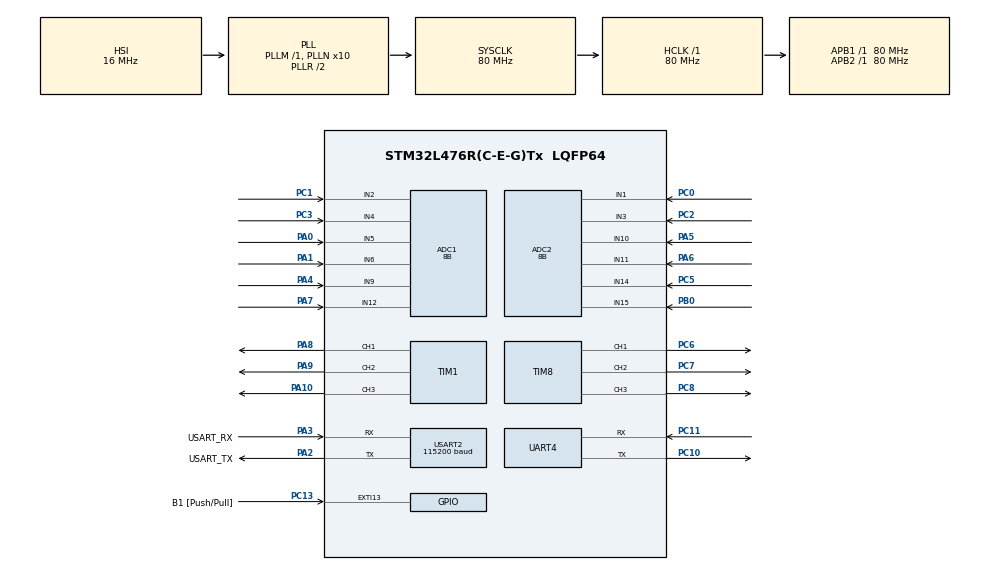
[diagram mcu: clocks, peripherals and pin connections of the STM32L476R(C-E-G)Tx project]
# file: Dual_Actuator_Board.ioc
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ADC1.Channel-10\#ChannelRegularConversion=ADC_CHANNEL_12
ADC1.Channel-3\#ChannelRegularConversion=ADC_CHANNEL_2
ADC1.Channel-6\#ChannelRegularConversion=ADC_CHANNEL_4
ADC1.Channel-7\#ChannelRegularConversion=ADC_CHANNEL_5
ADC1.Channel-8\#ChannelRegularConversion=ADC_CHANNEL_6
ADC1.Channel-9\#ChannelRegularConversion=ADC_CHANNEL_9
ADC1.ClockPrescaler=ADC_CLOCK_ASYNC_DIV8
ADC1.ContinuousConvMode=ENABLE
ADC1.DMAContinuousRequests=ENABLE
ADC1.NbrOfConversion=6
ADC1.NbrOfConversionFlag=1
ADC1.OffsetNumber-10\#ChannelRegularConversion=ADC_OFFSET_NONE
ADC1.OffsetNumber-3\#ChannelRegularConversion=ADC_OFFSET_NONE
ADC1.OffsetNumber-6\#ChannelRegularConversion=ADC_OFFSET_NONE
ADC1.OffsetNumber-7\#ChannelRegularConversion=ADC_OFFSET_NONE
ADC1.OffsetNumber-8\#ChannelRegularConversion=ADC_OFFSET_NONE
ADC1.OffsetNumber-9\#ChannelRegularConversion=ADC_OFFSET_NONE
ADC1.Rank-10\#ChannelRegularConversion=6
ADC1.Rank-3\#ChannelRegularConversion=1
ADC1.Rank-6\#ChannelRegularConversion=2
ADC1.Rank-7\#ChannelRegularConversion=3
ADC1.Rank-8\#ChannelRegularConversion=4
ADC1.Rank-9\#ChannelRegularConversion=5
ADC1.Resolution=ADC_RESOLUTION_8B
ADC1.SamplingTime-10\#ChannelRegularConversion=ADC_SAMPLETIME_640CYCLES_5
ADC1.SamplingTime-3\#ChannelRegularConversion=ADC_SAMPLETIME_640CYCLES_5
ADC1.SamplingTime-6\#ChannelRegularConversion=ADC_SAMPLETIME_640CYCLES_5
ADC1.SamplingTime-7\#ChannelRegularConversion=ADC_SAMPLETIME_640CYCLES_5
ADC1.SamplingTime-8\#ChannelRegularConversion=ADC_SAMPLETIME_640CYCLES_5
ADC1.SamplingTime-9\#ChannelRegularConversion=ADC_SAMPLETIME_640CYCLES_5
ADC1.master=1
ADC2.Channel-3\#ChannelRegularConversion=ADC_CHANNEL_1
ADC2.Channel-4\#ChannelRegularConversion=ADC_CHANNEL_3
ADC2.Channel-5\#ChannelRegularConversion=ADC_CHANNEL_10
ADC2.Channel-6\#ChannelRegularConversion=ADC_CHANNEL_11
ADC2.Channel-7\#ChannelRegularConversion=ADC_CHANNEL_14
ADC2.Channel-8\#ChannelRegularConversion=ADC_CHANNEL_15
ADC2.ClockPrescaler=ADC_CLOCK_ASYNC_DIV8
ADC2.ContinuousConvMode=ENABLE
ADC2.DMAContinuousRequests=ENABLE
ADC2.NbrOfConversion=6
ADC2.NbrOfConversionFlag=1
ADC2.OffsetNumber-3\#ChannelRegularConversion=ADC_OFFSET_NONE
ADC2.OffsetNumber-4\#ChannelRegularConversion=ADC_OFFSET_NONE
ADC2.OffsetNumber-5\#ChannelRegularConversion=ADC_OFFSET_NONE
ADC2.OffsetNumber-6\#ChannelRegularConversion=ADC_OFFSET_NONE
ADC2.OffsetNumber-7\#ChannelRegularConversion=ADC_OFFSET_NONE
ADC2.OffsetNumber-8\#ChannelRegularConversion=ADC_OFFSET_NONE
ADC2.Rank-3\#ChannelRegularConversion=1
ADC2.Rank-4\#ChannelRegularConversion=2
ADC2.Rank-5\#ChannelRegularConversion=3
ADC2.Rank-6\#ChannelRegularConversion=4
ADC2.Rank-7\#ChannelRegularConversion=5
ADC2.Rank-8\#ChannelRegularConversion=6
ADC2.Resolution=ADC_RESOLUTION_8B
ADC2.SamplingTime-3\#ChannelRegularConversion=ADC_SAMPLETIME_640CYCLES_5
ADC2.SamplingTime-4\#ChannelRegularConversion=ADC_SAMPLETIME_640CYCLES_5
ADC2.SamplingTime-5\#ChannelRegularConversion=ADC_SAMPLETIME_640CYCLES_5
ADC2.SamplingTime-6\#ChannelRegularConversion=ADC_SAMPLETIME_640CYCLES_5
ADC2.SamplingTime-7\#ChannelRegularConversion=ADC_SAMPLETIME_640CYCLES_5
ADC2.SamplingTime-8\#ChannelRegularConversion=ADC_SAMPLETIME_640CYCLES_5
Dma.ADC1.1.Direction=DMA_PERIPH_TO_MEMORY
Dma.ADC1.1.Instance=DMA1_Channel1
Dma.ADC1.1.MemDataAlignment=DMA_MDATAALIGN_HALFWORD
Dma.ADC1.1.MemInc=DMA_MINC_ENABLE
Dma.ADC1.1.Mode=DMA_CIRCULAR
Dma.ADC1.1.PeriphDataAlignment=DMA_PDATAALIGN_HALFWORD
Dma.ADC1.1.PeriphInc=DMA_PINC_DISABLE
Dma.ADC1.1.Priority=DMA_PRIORITY_LOW
Dma.ADC2.0.Direction=DMA_PERIPH_TO_MEMORY
Dma.ADC2.0.Instance=DMA1_Channel2
Dma.ADC2.0.MemDataAlignment=DMA_MDATAALIGN_HALFWORD
Dma.ADC2.0.MemInc=DMA_MINC_ENABLE
Dma.ADC2.0.Mode=DMA_CIRCULAR
Dma.ADC2.0.PeriphDataAlignment=DMA_PDATAALIGN_HALFWORD
Dma.ADC2.0.PeriphInc=DMA_PINC_DISABLE
Dma.ADC2.0.Priority=DMA_PRIORITY_LOW
Dma.Request0=ADC2
Dma.Request1=ADC1
Dma.Request2=USART2_TX
Dma.USART2_TX.2.Direction=DMA_MEMORY_TO_PERIPH
Dma.USART2_TX.2.Instance=DMA1_Channel7
Dma.USART2_TX.2.MemDataAlignment=DMA_MDATAALIGN_BYTE
Dma.USART2_TX.2.MemInc=DMA_MINC_ENABLE
Dma.USART2_TX.2.Mode=DMA_CIRCULAR
Dma.USART2_TX.2.PeriphDataAlignment=DMA_PDATAALIGN_BYTE
Dma.USART2_TX.2.PeriphInc=DMA_PINC_DISABLE
Dma.USART2_TX.2.Priority=DMA_PRIORITY_LOW
Mcu.Family=STM32L4
Mcu.Name=STM32L476R(C-E-G)Tx
Mcu.Package=LQFP64
NVIC.DMA1_Channel1_IRQn=true\:1\:0\:true\:false\:true\:false\:true
NVIC.DMA1_Channel2_IRQn=true\:1\:0\:true\:false\:true\:false\:true
NVIC.DMA1_Channel7_IRQn=true\:1\:0\:true\:false\:true\:false\:true
NVIC.PriorityGroup=NVIC_PRIORITYGROUP_4
NVIC.TIM7_IRQn=true\:4\:0\:true\:false\:true\:true\:true
NVIC.UART4_IRQn=true\:0\:0\:false\:false\:true\:true\:true
NVIC.USART2_IRQn=true\:1\:0\:true\:false\:true\:true\:true
PA0.Signal=ADCx_IN5
PA1.Signal=ADCx_IN6
PA10.Signal=S_TIM1_CH3
PA13\ (JTMS-SWDIO).GPIO_Label=TMS
PA13\ (JTMS-SWDIO).Mode=Serial_Wire
PA13\ (JTMS-SWDIO).Signal=SYS_JTMS-SWDIO
PA14\ (JTCK-SWCLK).GPIO_Label=TCK
PA14\ (JTCK-SWCLK).Mode=Serial_Wire
PA14\ (JTCK-SWCLK).Signal=SYS_JTCK-SWCLK
PA2.GPIO_Label=USART_TX
PA2.GPIO_Mode=GPIO_MODE_AF_PP
PA2.GPIO_PuPd=GPIO_NOPULL
PA2.GPIO_Speed=GPIO_SPEED_FREQ_VERY_HIGH
PA2.Mode=Asynchronous
PA2.Signal=USART2_TX
PA3.GPIO_Label=USART_RX
PA3.GPIO_Mode=GPIO_MODE_AF_PP
PA3.GPIO_PuPd=GPIO_NOPULL
PA3.GPIO_Speed=GPIO_SPEED_FREQ_VERY_HIGH
PA3.Mode=Asynchronous
PA3.Signal=USART2_RX
PA4.Signal=ADCx_IN9
PA5.Signal=ADCx_IN10
PA6.Signal=ADCx_IN11
PA7.Signal=ADCx_IN12
PA8.Signal=S_TIM1_CH1
PA9.Signal=S_TIM1_CH2
PB0.Signal=ADCx_IN15
PC0.Signal=ADCx_IN1
PC1.Signal=ADCx_IN2
PC10.Mode=Asynchronous
PC10.Signal=UART4_TX
PC11.Mode=Asynchronous
PC11.Signal=UART4_RX
PC13.GPIO_Label=B1 [Push/Pull]
PC13.GPIO_ModeDefaultEXTI=GPIO_MODE_IT_FALLING
PC13.GPIO_PuPd=GPIO_NOPULL
PC13.Signal=GPXTI13
PC14-OSC32_IN\ (PC14).Mode=LSE-External-Oscillator
PC14-OSC32_IN\ (PC14).Signal=RCC_OSC32_IN
PC15-OSC32_OUT\ (PC15).Mode=LSE-External-Oscillator
PC15-OSC32_OUT\ (PC15).Signal=RCC_OSC32_OUT
PC2.Signal=ADCx_IN3
PC3.Signal=ADCx_IN4
PC5.Signal=ADCx_IN14
PC6.Signal=S_TIM8_CH1
PC7.Signal=S_TIM8_CH2
PC8.Signal=S_TIM8_CH3
PH0-OSC_IN\ (PH0).Signal=RCC_OSC_IN
PH1-OSC_OUT\ (PH1).Signal=RCC_OSC_OUT
ProjectManager.HeapSize=0x200
ProjectManager.StackSize=0x400
ProjectManager.TargetToolchain=STM32CubeIDE
RCC.ADCFreq_Value=64000000
RCC.AHBFreq_Value=80000000
RCC.APB1Freq_Value=80000000
RCC.APB1TimFreq_Value=80000000
RCC.APB2Freq_Value=80000000
RCC.APB2TimFreq_Value=80000000
RCC.CortexFreq_Value=80000000
RCC.HCLKFreq_Value=80000000
RCC.HSE_VALUE=8000000
RCC.HSI_VALUE=16000000
RCC.MSI_VALUE=4000000
RCC.PLLN=10
RCC.PLLSourceVirtual=RCC_PLLSOURCE_HSI
RCC.PREFETCH_ENABLE=1
RCC.SYSCLKFreq_VALUE=80000000
RCC.SYSCLKSource=RCC_SYSCLKSOURCE_PLLCLK
RCC.USBFreq_Value=64000000
RCC.VCOOutputFreq_Value=160000000
SH.ADCx_IN1.0=ADC2_IN1,IN1-Single-Ended
SH.ADCx_IN10.0=ADC2_IN10,IN10-Single-Ended
SH.ADCx_IN11.0=ADC2_IN11,IN11-Single-Ended
SH.ADCx_IN12.0=ADC1_IN12,IN12-Single-Ended
SH.ADCx_IN14.0=ADC2_IN14,IN14-Single-Ended
SH.ADCx_IN15.0=ADC2_IN15,IN15-Single-Ended
SH.ADCx_IN2.0=ADC1_IN2,IN2-Single-Ended
SH.ADCx_IN3.0=ADC2_IN3,IN3-Single-Ended
SH.ADCx_IN4.0=ADC1_IN4,IN4-Single-Ended
SH.ADCx_IN5.0=ADC1_IN5,IN5-Single-Ended
SH.ADCx_IN6.0=ADC1_IN6,IN6-Single-Ended
SH.ADCx_IN9.0=ADC1_IN9,IN9-Single-Ended
SH.S_TIM1_CH1.0=TIM1_CH1,PWM Generation1 CH1
SH.S_TIM1_CH2.0=TIM1_CH2,PWM Generation2 CH2
SH.S_TIM1_CH3.0=TIM1_CH3,PWM Generation3 CH3
SH.S_TIM8_CH1.0=TIM8_CH1,PWM Generation1 CH1
SH.S_TIM8_CH2.0=TIM8_CH2,PWM Generation2 CH2
SH.S_TIM8_CH3.0=TIM8_CH3,PWM Generation3 CH3
TIM1.Channel-PWM\ Generation1\ CH1=TIM_CHANNEL_1
TIM1.Channel-PWM\ Generation2\ CH2=TIM_CHANNEL_2
TIM1.Channel-PWM\ Generation3\ CH3=TIM_CHANNEL_3
TIM8.Channel-PWM\ Generation1\ CH1=TIM_CHANNEL_1
TIM8.Channel-PWM\ Generation2\ CH2=TIM_CHANNEL_2
TIM8.Channel-PWM\ Generation3\ CH3=TIM_CHANNEL_3
USART2.BaudRate=115200
USART2.VirtualMode-Asynchronous=VM_ASYNC
VP_TIM7_VS_ClockSourceINT.Mode=Enable_Timer
board=NUCLEO-L476RG

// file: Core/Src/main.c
/* USER CODE BEGIN Header */
/**
  ******************************************************************************
  * @file           : main.c
  * @brief          : Main program body
  ******************************************************************************
  * @attention
  *
  * <h2><center>&copy; Copyright (c) 2020 STMicroelectronics.
  * All rights reserved.</center></h2>
  *
  * This software component is licensed by ST under BSD 3-Clause license,
  * the "License"; You may not use this file except in compliance with the
  * License. You may obtain a copy of the License at:
  *                        opensource.org/licenses/BSD-3-Clause
  *
  ******************************************************************************
  */
/* USER CODE END Header */

#include "main.h"

/* USER CODE BEGIN Includes */

#include <math.h>
#include <stdio.h>
#include <inttypes.h>
#include <string.h>
#include <stdbool.h>

#include "timer_interrupt.h"
#include "analog.h"
#include "servo.h"

#include "continuum_actuator.h"

/* USER CODE END Includes */

ADC_HandleTypeDef hadc1;
ADC_HandleTypeDef hadc2;
DMA_HandleTypeDef hdma_adc1;
DMA_HandleTypeDef hdma_adc2;

TIM_HandleTypeDef htim1;
TIM_HandleTypeDef htim7;
TIM_HandleTypeDef htim8;

UART_HandleTypeDef huart4;
UART_HandleTypeDef huart2;
DMA_HandleTypeDef hdma_usart2_tx;

void SystemClock_Config(void);
static void MX_GPIO_Init(void);
static void MX_DMA_Init(void);
static void MX_USART2_UART_Init(void);
static void MX_TIM1_Init(void);
static void MX_TIM7_Init(void);
static void MX_ADC2_Init(void);
static void MX_ADC1_Init(void);
static void MX_TIM8_Init(void);
static void MX_UART4_Init(void);

/* USER CODE BEGIN 0 */

//Interrupt timer - controller setup
struct INTERRUPT Controller;

//Analog inputs - potentiometer, current sensor
struct ANALOGIN Pot1A;
struct ANALOGIN Pot1B;
struct ANALOGIN Pot1C;
struct ANALOGIN Pot2A;
struct ANALOGIN Pot2B;
struct ANALOGIN Pot2C;

struct ANALOGIN Cs1A;
struct ANALOGIN Cs1B;
struct ANALOGIN Cs1C;
struct ANALOGIN Cs2A;
struct ANALOGIN Cs2B;
struct ANALOGIN Cs2C;

//Timer setup - Servos
struct SERVO Servo1A;
struct SERVO Servo1B;
struct SERVO Servo1C;
struct SERVO Servo2A;
struct SERVO Servo2B;
struct SERVO Servo2C;

uint8_t receiveData[9];			//Includes Simulink headers
uint8_t filteredData[sizeof(receiveData)];
uint8_t transmitData[15];		//Includes Simulink headers

/* USER CODE END 0 */

int main(void)
{

  /* MCU Configuration--------------------------------------------------------*/

  /* Reset of all peripherals, Initializes the Flash interface and the Systick. */
  HAL_Init();

  /* Configure the system clock */
  SystemClock_Config();

  /* Initialize all configured peripherals */
  MX_GPIO_Init();
  MX_DMA_Init();
  MX_USART2_UART_Init();
  MX_TIM1_Init();
  MX_TIM7_Init();
  MX_ADC2_Init();
  MX_ADC1_Init();
  MX_TIM8_Init();
  MX_UART4_Init();
  /* USER CODE BEGIN 2 */

  //Interrupt timer setup for the controller
  TimerInterruptInit (&Controller, TIM7,  &htim7, 80000000, 5000);
  StartInterrupt (&Controller);
  //Interrupt timer setup for the controller

  //ADC setup for the potentiometer and current sensor
  // 			(ADC, ADC Num, Rank)
  ADC_Create_Start (&hadc1, 1, 6);
  ADC_Channel_Init (&Pot1A, 1, 5);

  ADC_Channel_Init (&Pot1B, 1, 1);

  ADC_Channel_Init (&Pot1C, 1, 2);

  ADC_Channel_Init (&Pot2A, 1, 4);

  ADC_Channel_Init (&Pot2B, 1, 3);

  ADC_Channel_Init (&Pot2C, 1, 6);

  // 			(ADC, ADC No, Rank)
  ADC_Create_Start (&hadc2, 2, 6);
  ADC_Channel_Init (&Cs1A, 2, 6);

  ADC_Channel_Init (&Cs1B, 2, 1);

  ADC_Channel_Init (&Cs1C, 2, 2);

  ADC_Channel_Init (&Cs2A, 2, 4);

  ADC_Channel_Init (&Cs2B, 2, 3);

  ADC_Channel_Init (&Cs2C, 2, 5);
  //ADC setup for the potentiometer and current sensor

  //Servo timer setup
  ServoInit (&Servo1A, TIM1, TIM_CHANNEL_1, &htim1, 2, 80000000);

  ServoInit (&Servo1B, TIM1, TIM_CHANNEL_2, &htim1, 1, 80000000);

  ServoInit (&Servo1C, TIM1, TIM_CHANNEL_3, &htim1, 3, 80000000);

  ServoInit (&Servo2A, TIM8, TIM_CHANNEL_1, &htim8, 2, 80000000);

  ServoInit (&Servo2B, TIM8, TIM_CHANNEL_2, &htim8, 1, 80000000);

  ServoInit (&Servo2C, TIM8, TIM_CHANNEL_3, &htim8, 3, 80000000);
  //Servo timer setup

  //UART Setup
  HAL_UART_Receive_IT(&huart4, receiveData, sizeof(receiveData));
  //UART Setup

  /* USER CODE END 2 */

  /* Infinite loop */
  while (1)
  {

    /* USER CODE BEGIN 3 */

	  HAL_UART_Receive_IT(&huart4, receiveData, sizeof(receiveData));

	  for(int i = 0; i < sizeof(receiveData); i++)
	  {
		  if((receiveData[i] == 83) && (receiveData[(i + 8) % sizeof(receiveData)] == 69) && (receiveData[(i + 7) % sizeof(receiveData)] == 55))
		  {
			  for(int z = 0; z < sizeof(receiveData); z++)
				  filteredData[z] = receiveData[(i + z) % sizeof(receiveData)];

		  		AngleInput(&Servo1A, filteredData[1]);
		  		AngleInput(&Servo1B, filteredData[2]);
		  		AngleInput(&Servo1C, filteredData[3]);
		  		AngleInput(&Servo2A, filteredData[4]);
		  		AngleInput(&Servo2B, filteredData[5]);
		  		AngleInput(&Servo2C, filteredData[6]);
		  }
	  }

  }
  /* USER CODE END 3 */
}

void SystemClock_Config(void)
{
  RCC_OscInitTypeDef RCC_OscInitStruct = {0};
  RCC_ClkInitTypeDef RCC_ClkInitStruct = {0};
  RCC_PeriphCLKInitTypeDef PeriphClkInit = {0};

  /** Initializes the CPU, AHB and APB busses clocks
  */
  RCC_OscInitStruct.OscillatorType = RCC_OSCILLATORTYPE_HSI;
  RCC_OscInitStruct.HSIState = RCC_HSI_ON;
  RCC_OscInitStruct.HSICalibrationValue = RCC_HSICALIBRATION_DEFAULT;
  RCC_OscInitStruct.PLL.PLLState = RCC_PLL_ON;
  RCC_OscInitStruct.PLL.PLLSource = RCC_PLLSOURCE_HSI;
  RCC_OscInitStruct.PLL.PLLM = 1;
  RCC_OscInitStruct.PLL.PLLN = 10;
  RCC_OscInitStruct.PLL.PLLP = RCC_PLLP_DIV7;
  RCC_OscInitStruct.PLL.PLLQ = RCC_PLLQ_DIV2;
  RCC_OscInitStruct.PLL.PLLR = RCC_PLLR_DIV2;
  if (HAL_RCC_OscConfig(&RCC_OscInitStruct) != HAL_OK)
  {
    Error_Handler();
  }
  /** Initializes the CPU, AHB and APB busses clocks
  */
  RCC_ClkInitStruct.ClockType = RCC_CLOCKTYPE_HCLK|RCC_CLOCKTYPE_SYSCLK
                              |RCC_CLOCKTYPE_PCLK1|RCC_CLOCKTYPE_PCLK2;
  RCC_ClkInitStruct.SYSCLKSource = RCC_SYSCLKSOURCE_PLLCLK;
  RCC_ClkInitStruct.AHBCLKDivider = RCC_SYSCLK_DIV1;
  RCC_ClkInitStruct.APB1CLKDivider = RCC_HCLK_DIV1;
  RCC_ClkInitStruct.APB2CLKDivider = RCC_HCLK_DIV1;

  if (HAL_RCC_ClockConfig(&RCC_ClkInitStruct, FLASH_LATENCY_4) != HAL_OK)
  {
    Error_Handler();
  }
  PeriphClkInit.PeriphClockSelection = RCC_PERIPHCLK_USART2|RCC_PERIPHCLK_UART4
                              |RCC_PERIPHCLK_ADC;
  PeriphClkInit.Usart2ClockSelection = RCC_USART2CLKSOURCE_PCLK1;
  PeriphClkInit.Uart4ClockSelection = RCC_UART4CLKSOURCE_PCLK1;
  PeriphClkInit.AdcClockSelection = RCC_ADCCLKSOURCE_PLLSAI1;
  PeriphClkInit.PLLSAI1.PLLSAI1Source = RCC_PLLSOURCE_HSI;
  PeriphClkInit.PLLSAI1.PLLSAI1M = 1;
  PeriphClkInit.PLLSAI1.PLLSAI1N = 8;
  PeriphClkInit.PLLSAI1.PLLSAI1P = RCC_PLLP_DIV7;
  PeriphClkInit.PLLSAI1.PLLSAI1Q = RCC_PLLQ_DIV2;
  PeriphClkInit.PLLSAI1.PLLSAI1R = RCC_PLLR_DIV2;
  PeriphClkInit.PLLSAI1.PLLSAI1ClockOut = RCC_PLLSAI1_ADC1CLK;
  if (HAL_RCCEx_PeriphCLKConfig(&PeriphClkInit) != HAL_OK)
  {
    Error_Handler();
  }
  /** Configure the main internal regulator output voltage
  */
  if (HAL_PWREx_ControlVoltageScaling(PWR_REGULATOR_VOLTAGE_SCALE1) != HAL_OK)
  {
    Error_Handler();
  }
}

static void MX_ADC1_Init(void)
{

  ADC_MultiModeTypeDef multimode = {0};
  ADC_ChannelConfTypeDef sConfig = {0};

  /** Common config
  */
  hadc1.Instance = ADC1;
  hadc1.Init.ClockPrescaler = ADC_CLOCK_ASYNC_DIV8;
  hadc1.Init.Resolution = ADC_RESOLUTION_8B;
  hadc1.Init.DataAlign = ADC_DATAALIGN_RIGHT;
  hadc1.Init.ScanConvMode = ADC_SCAN_ENABLE;
  hadc1.Init.EOCSelection = ADC_EOC_SINGLE_CONV;
  hadc1.Init.LowPowerAutoWait = DISABLE;
  hadc1.Init.ContinuousConvMode = ENABLE;
  hadc1.Init.NbrOfConversion = 6;
  hadc1.Init.DiscontinuousConvMode = DISABLE;
  hadc1.Init.NbrOfDiscConversion = 1;
  hadc1.Init.ExternalTrigConv = ADC_SOFTWARE_START;
  hadc1.Init.ExternalTrigConvEdge = ADC_EXTERNALTRIGCONVEDGE_NONE;
  hadc1.Init.DMAContinuousRequests = ENABLE;
  hadc1.Init.Overrun = ADC_OVR_DATA_PRESERVED;
  hadc1.Init.OversamplingMode = DISABLE;
  if (HAL_ADC_Init(&hadc1) != HAL_OK)
  {
    Error_Handler();
  }
  /** Configure the ADC multi-mode
  */
  multimode.Mode = ADC_MODE_INDEPENDENT;
  if (HAL_ADCEx_MultiModeConfigChannel(&hadc1, &multimode) != HAL_OK)
  {
    Error_Handler();
  }
  /** Configure Regular Channel
  */
  sConfig.Channel = ADC_CHANNEL_2;
  sConfig.Rank = ADC_REGULAR_RANK_1;
  sConfig.SamplingTime = ADC_SAMPLETIME_640CYCLES_5;
  sConfig.SingleDiff = ADC_SINGLE_ENDED;
  sConfig.OffsetNumber = ADC_OFFSET_NONE;
  sConfig.Offset = 0;
  if (HAL_ADC_ConfigChannel(&hadc1, &sConfig) != HAL_OK)
  {
    Error_Handler();
  }
  /** Configure Regular Channel
  */
  sConfig.Channel = ADC_CHANNEL_4;
  sConfig.Rank = ADC_REGULAR_RANK_2;
  if (HAL_ADC_ConfigChannel(&hadc1, &sConfig) != HAL_OK)
  {
    Error_Handler();
  }
  /** Configure Regular Channel
  */
  sConfig.Channel = ADC_CHANNEL_5;
  sConfig.Rank = ADC_REGULAR_RANK_3;
  if (HAL_ADC_ConfigChannel(&hadc1, &sConfig) != HAL_OK)
  {
    Error_Handler();
  }
  /** Configure Regular Channel
  */
  sConfig.Channel = ADC_CHANNEL_6;
  sConfig.Rank = ADC_REGULAR_RANK_4;
  if (HAL_ADC_ConfigChannel(&hadc1, &sConfig) != HAL_OK)
  {
    Error_Handler();
  }
  /** Configure Regular Channel
  */
  sConfig.Channel = ADC_CHANNEL_9;
  sConfig.Rank = ADC_REGULAR_RANK_5;
  if (HAL_ADC_ConfigChannel(&hadc1, &sConfig) != HAL_OK)
  {
    Error_Handler();
  }
  /** Configure Regular Channel
  */
  sConfig.Channel = ADC_CHANNEL_12;
  sConfig.Rank = ADC_REGULAR_RANK_6;
  if (HAL_ADC_ConfigChannel(&hadc1, &sConfig) != HAL_OK)
  {
    Error_Handler();
  }

}

static void MX_ADC2_Init(void)
{

  ADC_ChannelConfTypeDef sConfig = {0};

  /** Common config
  */
  hadc2.Instance = ADC2;
  hadc2.Init.ClockPrescaler = ADC_CLOCK_ASYNC_DIV8;
  hadc2.Init.Resolution = ADC_RESOLUTION_8B;
  hadc2.Init.DataAlign = ADC_DATAALIGN_RIGHT;
  hadc2.Init.ScanConvMode = ADC_SCAN_ENABLE;
  hadc2.Init.EOCSelection = ADC_EOC_SINGLE_CONV;
  hadc2.Init.LowPowerAutoWait = DISABLE;
  hadc2.Init.ContinuousConvMode = ENABLE;
  hadc2.Init.NbrOfConversion = 6;
  hadc2.Init.DiscontinuousConvMode = DISABLE;
  hadc2.Init.NbrOfDiscConversion = 1;
  hadc2.Init.ExternalTrigConv = ADC_SOFTWARE_START;
  hadc2.Init.ExternalTrigConvEdge = ADC_EXTERNALTRIGCONVEDGE_NONE;
  hadc2.Init.DMAContinuousRequests = ENABLE;
  hadc2.Init.Overrun = ADC_OVR_DATA_PRESERVED;
  hadc2.Init.OversamplingMode = DISABLE;
  if (HAL_ADC_Init(&hadc2) != HAL_OK)
  {
    Error_Handler();
  }
  /** Configure Regular Channel
  */
  sConfig.Channel = ADC_CHANNEL_1;
  sConfig.Rank = ADC_REGULAR_RANK_1;
  sConfig.SamplingTime = ADC_SAMPLETIME_640CYCLES_5;
  sConfig.SingleDiff = ADC_SINGLE_ENDED;
  sConfig.OffsetNumber = ADC_OFFSET_NONE;
  sConfig.Offset = 0;
  if (HAL_ADC_ConfigChannel(&hadc2, &sConfig) != HAL_OK)
  {
    Error_Handler();
  }
  /** Configure Regular Channel
  */
  sConfig.Channel = ADC_CHANNEL_3;
  sConfig.Rank = ADC_REGULAR_RANK_2;
  if (HAL_ADC_ConfigChannel(&hadc2, &sConfig) != HAL_OK)
  {
    Error_Handler();
  }
  /** Configure Regular Channel
  */
  sConfig.Channel = ADC_CHANNEL_10;
  sConfig.Rank = ADC_REGULAR_RANK_3;
  if (HAL_ADC_ConfigChannel(&hadc2, &sConfig) != HAL_OK)
  {
    Error_Handler();
  }
  /** Configure Regular Channel
  */
  sConfig.Channel = ADC_CHANNEL_11;
  sConfig.Rank = ADC_REGULAR_RANK_4;
  if (HAL_ADC_ConfigChannel(&hadc2, &sConfig) != HAL_OK)
  {
    Error_Handler();
  }
  /** Configure Regular Channel
  */
  sConfig.Channel = ADC_CHANNEL_14;
  sConfig.Rank = ADC_REGULAR_RANK_5;
  if (HAL_ADC_ConfigChannel(&hadc2, &sConfig) != HAL_OK)
  {
    Error_Handler();
  }
  /** Configure Regular Channel
  */
  sConfig.Channel = ADC_CHANNEL_15;
  sConfig.Rank = ADC_REGULAR_RANK_6;
  if (HAL_ADC_ConfigChannel(&hadc2, &sConfig) != HAL_OK)
  {
    Error_Handler();
  }

}

static void MX_TIM1_Init(void)
{

  TIM_MasterConfigTypeDef sMasterConfig = {0};
  TIM_OC_InitTypeDef sConfigOC = {0};
  TIM_BreakDeadTimeConfigTypeDef sBreakDeadTimeConfig = {0};

  htim1.Instance = TIM1;
  htim1.Init.Prescaler = 0;
  htim1.Init.CounterMode = TIM_COUNTERMODE_UP;
  htim1.Init.Period = 0;
  htim1.Init.ClockDivision = TIM_CLOCKDIVISION_DIV1;
  htim1.Init.RepetitionCounter = 0;
  htim1.Init.AutoReloadPreload = TIM_AUTORELOAD_PRELOAD_DISABLE;
  if (HAL_TIM_PWM_Init(&htim1) != HAL_OK)
  {
    Error_Handler();
  }
  sMasterConfig.MasterOutputTrigger = TIM_TRGO_RESET;
  sMasterConfig.MasterOutputTrigger2 = TIM_TRGO2_RESET;
  sMasterConfig.MasterSlaveMode = TIM_MASTERSLAVEMODE_DISABLE;
  if (HAL_TIMEx_MasterConfigSynchronization(&htim1, &sMasterConfig) != HAL_OK)
  {
    Error_Handler();
  }
  sConfigOC.OCMode = TIM_OCMODE_PWM1;
  sConfigOC.Pulse = 0;
  sConfigOC.OCPolarity = TIM_OCPOLARITY_HIGH;
  sConfigOC.OCNPolarity = TIM_OCNPOLARITY_HIGH;
  sConfigOC.OCFastMode = TIM_OCFAST_DISABLE;
  sConfigOC.OCIdleState = TIM_OCIDLESTATE_RESET;
  sConfigOC.OCNIdleState = TIM_OCNIDLESTATE_RESET;
  if (HAL_TIM_PWM_ConfigChannel(&htim1, &sConfigOC, TIM_CHANNEL_1) != HAL_OK)
  {
    Error_Handler();
  }
  if (HAL_TIM_PWM_ConfigChannel(&htim1, &sConfigOC, TIM_CHANNEL_2) != HAL_OK)
  {
    Error_Handler();
  }
  if (HAL_TIM_PWM_ConfigChannel(&htim1, &sConfigOC, TIM_CHANNEL_3) != HAL_OK)
  {
    Error_Handler();
  }
  sBreakDeadTimeConfig.OffStateRunMode = TIM_OSSR_DISABLE;
  sBreakDeadTimeConfig.OffStateIDLEMode = TIM_OSSI_DISABLE;
  sBreakDeadTimeConfig.LockLevel = TIM_LOCKLEVEL_OFF;
  sBreakDeadTimeConfig.DeadTime = 0;
  sBreakDeadTimeConfig.BreakState = TIM_BREAK_DISABLE;
  sBreakDeadTimeConfig.BreakPolarity = TIM_BREAKPOLARITY_HIGH;
  sBreakDeadTimeConfig.BreakFilter = 0;
  sBreakDeadTimeConfig.Break2State = TIM_BREAK2_DISABLE;
  sBreakDeadTimeConfig.Break2Polarity = TIM_BREAK2POLARITY_HIGH;
  sBreakDeadTimeConfig.Break2Filter = 0;
  sBreakDeadTimeConfig.AutomaticOutput = TIM_AUTOMATICOUTPUT_DISABLE;
  if (HAL_TIMEx_ConfigBreakDeadTime(&htim1, &sBreakDeadTimeConfig) != HAL_OK)
  {
    Error_Handler();
  }
  HAL_TIM_MspPostInit(&htim1);

}

static void MX_TIM7_Init(void)
{

  TIM_MasterConfigTypeDef sMasterConfig = {0};

  htim7.Instance = TIM7;
  htim7.Init.Prescaler = 0;
  htim7.Init.CounterMode = TIM_COUNTERMODE_UP;
  htim7.Init.Period = 0;
  htim7.Init.AutoReloadPreload = TIM_AUTORELOAD_PRELOAD_DISABLE;
  if (HAL_TIM_Base_Init(&htim7) != HAL_OK)
  {
    Error_Handler();
  }
  sMasterConfig.MasterOutputTrigger = TIM_TRGO_RESET;
  sMasterConfig.MasterSlaveMode = TIM_MASTERSLAVEMODE_DISABLE;
  if (HAL_TIMEx_MasterConfigSynchronization(&htim7, &sMasterConfig) != HAL_OK)
  {
    Error_Handler();
  }

}

static void MX_TIM8_Init(void)
{

  TIM_MasterConfigTypeDef sMasterConfig = {0};
  TIM_OC_InitTypeDef sConfigOC = {0};
  TIM_BreakDeadTimeConfigTypeDef sBreakDeadTimeConfig = {0};

  htim8.Instance = TIM8;
  htim8.Init.Prescaler = 0;
  htim8.Init.CounterMode = TIM_COUNTERMODE_UP;
  htim8.Init.Period = 0;
  htim8.Init.ClockDivision = TIM_CLOCKDIVISION_DIV1;
  htim8.Init.RepetitionCounter = 0;
  htim8.Init.AutoReloadPreload = TIM_AUTORELOAD_PRELOAD_DISABLE;
  if (HAL_TIM_PWM_Init(&htim8) != HAL_OK)
  {
    Error_Handler();
  }
  sMasterConfig.MasterOutputTrigger = TIM_TRGO_RESET;
  sMasterConfig.MasterOutputTrigger2 = TIM_TRGO2_RESET;
  sMasterConfig.MasterSlaveMode = TIM_MASTERSLAVEMODE_DISABLE;
  if (HAL_TIMEx_MasterConfigSynchronization(&htim8, &sMasterConfig) != HAL_OK)
  {
    Error_Handler();
  }
  sConfigOC.OCMode = TIM_OCMODE_PWM1;
  sConfigOC.Pulse = 0;
  sConfigOC.OCPolarity = TIM_OCPOLARITY_HIGH;
  sConfigOC.OCNPolarity = TIM_OCNPOLARITY_HIGH;
  sConfigOC.OCFastMode = TIM_OCFAST_DISABLE;
  sConfigOC.OCIdleState = TIM_OCIDLESTATE_RESET;
  sConfigOC.OCNIdleState = TIM_OCNIDLESTATE_RESET;
  if (HAL_TIM_PWM_ConfigChannel(&htim8, &sConfigOC, TIM_CHANNEL_1) != HAL_OK)
  {
    Error_Handler();
  }
  if (HAL_TIM_PWM_ConfigChannel(&htim8, &sConfigOC, TIM_CHANNEL_2) != HAL_OK)
  {
    Error_Handler();
  }
  if (HAL_TIM_PWM_ConfigChannel(&htim8, &sConfigOC, TIM_CHANNEL_3) != HAL_OK)
  {
    Error_Handler();
  }
  sBreakDeadTimeConfig.OffStateRunMode = TIM_OSSR_DISABLE;
  sBreakDeadTimeConfig.OffStateIDLEMode = TIM_OSSI_DISABLE;
  sBreakDeadTimeConfig.LockLevel = TIM_LOCKLEVEL_OFF;
  sBreakDeadTimeConfig.DeadTime = 0;
  sBreakDeadTimeConfig.BreakState = TIM_BREAK_DISABLE;
  sBreakDeadTimeConfig.BreakPolarity = TIM_BREAKPOLARITY_HIGH;
  sBreakDeadTimeConfig.BreakFilter = 0;
  sBreakDeadTimeConfig.Break2State = TIM_BREAK2_DISABLE;
  sBreakDeadTimeConfig.Break2Polarity = TIM_BREAK2POLARITY_HIGH;
  sBreakDeadTimeConfig.Break2Filter = 0;
  sBreakDeadTimeConfig.AutomaticOutput = TIM_AUTOMATICOUTPUT_DISABLE;
  if (HAL_TIMEx_ConfigBreakDeadTime(&htim8, &sBreakDeadTimeConfig) != HAL_OK)
  {
    Error_Handler();
  }
  HAL_TIM_MspPostInit(&htim8);

}

static void MX_UART4_Init(void)
{

  huart4.Instance = UART4;
  huart4.Init.BaudRate = 115200;
  huart4.Init.WordLength = UART_WORDLENGTH_8B;
  huart4.Init.StopBits = UART_STOPBITS_1;
  huart4.Init.Parity = UART_PARITY_NONE;
  huart4.Init.Mode = UART_MODE_TX_RX;
  huart4.Init.HwFlowCtl = UART_HWCONTROL_NONE;
  huart4.Init.OverSampling = UART_OVERSAMPLING_16;
  huart4.Init.OneBitSampling = UART_ONE_BIT_SAMPLE_DISABLE;
  huart4.AdvancedInit.AdvFeatureInit = UART_ADVFEATURE_NO_INIT;
  if (HAL_UART_Init(&huart4) != HAL_OK)
  {
    Error_Handler();
  }

}

static void MX_USART2_UART_Init(void)
{

  huart2.Instance = USART2;
  huart2.Init.BaudRate = 115200;
  huart2.Init.WordLength = UART_WORDLENGTH_8B;
  huart2.Init.StopBits = UART_STOPBITS_1;
  huart2.Init.Parity = UART_PARITY_NONE;
  huart2.Init.Mode = UART_MODE_TX_RX;
  huart2.Init.HwFlowCtl = UART_HWCONTROL_NONE;
  huart2.Init.OverSampling = UART_OVERSAMPLING_16;
  huart2.Init.OneBitSampling = UART_ONE_BIT_SAMPLE_DISABLE;
  huart2.AdvancedInit.AdvFeatureInit = UART_ADVFEATURE_NO_INIT;
  if (HAL_UART_Init(&huart2) != HAL_OK)
  {
    Error_Handler();
  }

}

static void MX_DMA_Init(void)
{

  /* DMA controller clock enable */
  __HAL_RCC_DMA1_CLK_ENABLE();

  /* DMA interrupt init */
  /* DMA1_Channel1_IRQn interrupt configuration */
  HAL_NVIC_SetPriority(DMA1_Channel1_IRQn, 1, 0);
  HAL_NVIC_EnableIRQ(DMA1_Channel1_IRQn);
  /* DMA1_Channel2_IRQn interrupt configuration */
  HAL_NVIC_SetPriority(DMA1_Channel2_IRQn, 1, 0);
  HAL_NVIC_EnableIRQ(DMA1_Channel2_IRQn);
  /* DMA1_Channel7_IRQn interrupt configuration */
  HAL_NVIC_SetPriority(DMA1_Channel7_IRQn, 1, 0);
  HAL_NVIC_EnableIRQ(DMA1_Channel7_IRQn);

}

static void MX_GPIO_Init(void)
{
  GPIO_InitTypeDef GPIO_InitStruct = {0};

  /* GPIO Ports Clock Enable */
  __HAL_RCC_GPIOC_CLK_ENABLE();
  __HAL_RCC_GPIOH_CLK_ENABLE();
  __HAL_RCC_GPIOA_CLK_ENABLE();
  __HAL_RCC_GPIOB_CLK_ENABLE();

  /*Configure GPIO pin : B1_Pin */
  GPIO_InitStruct.Pin = B1_Pin;
  GPIO_InitStruct.Mode = GPIO_MODE_IT_FALLING;
  GPIO_InitStruct.Pull = GPIO_NOPULL;
  HAL_GPIO_Init(B1_GPIO_Port, &GPIO_InitStruct);

}

/* USER CODE BEGIN 4 */

int __io_putchar(int ch)
{
 uint8_t c[1];
 c[0] = ch & 0x00FF;
 HAL_UART_Transmit(&huart2, &*c, 1, 1);
 return ch;
}

int _write(int file,char *ptr, int len)
{
 int DataIdx;
 for(DataIdx= 0; DataIdx< len; DataIdx++)
 {
 __io_putchar(*ptr++);
 }
return len;
}

void Inter()
{

    transmitData[0] = *"A";
    transmitData[13] = 56;
    transmitData[14] = *"B";
	transmitData[1] = (uint8_t) Analog_Value(&Pot1A);
	transmitData[2] = (uint8_t) Analog_Value(&Pot1B);
	transmitData[3] = (uint8_t) Analog_Value(&Pot1C);
	transmitData[4] = (uint8_t) Analog_Value(&Cs1A);
	transmitData[5] = (uint8_t) Analog_Value(&Cs1B);
	transmitData[6] = (uint8_t) Analog_Value(&Cs1C);
	transmitData[7] = (uint8_t) Analog_Value(&Pot2A);
	transmitData[8] = (uint8_t) Analog_Value(&Pot2B);
	transmitData[9] = (uint8_t) Analog_Value(&Pot2C);
	transmitData[10] = (uint8_t) Analog_Value(&Cs2A);
	transmitData[11] = (uint8_t) Analog_Value(&Cs2B);
	transmitData[12] = (uint8_t) Analog_Value(&Cs2C);

	HAL_UART_Transmit(&huart4, transmitData, sizeof(transmitData), 10);

}

/* USER CODE END 4 */

void Error_Handler(void)
{
}

/************************ (C) COPYRIGHT STMicroelectronics *****END OF FILE****/
